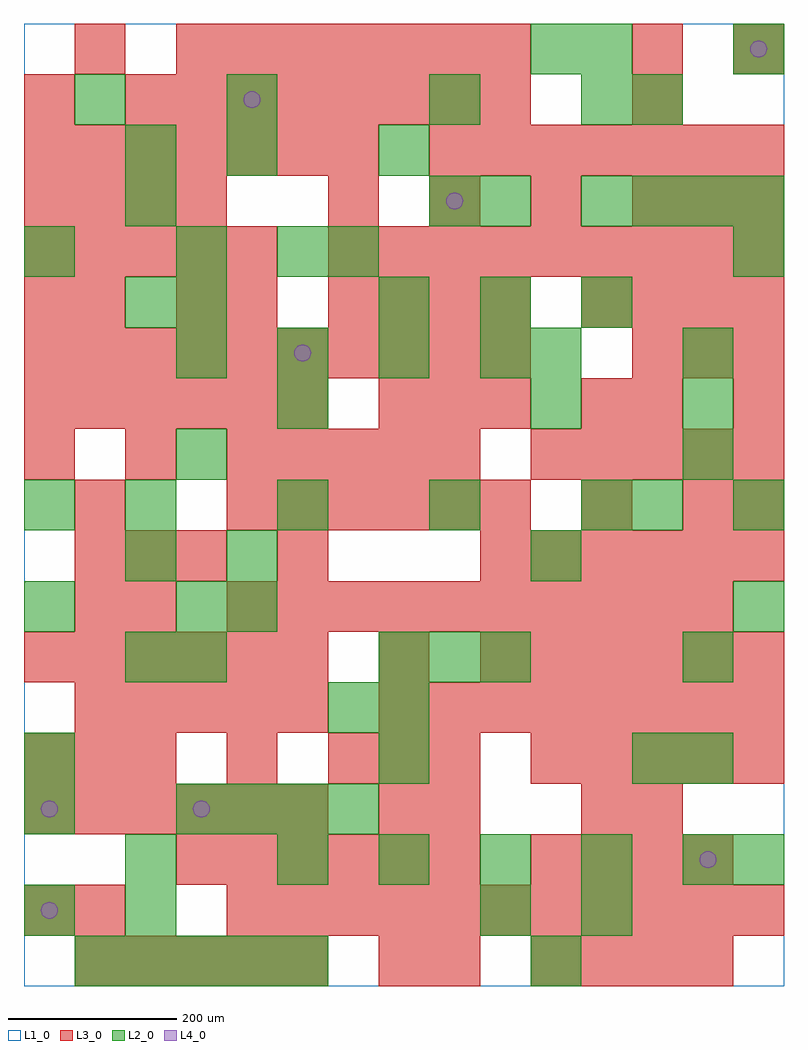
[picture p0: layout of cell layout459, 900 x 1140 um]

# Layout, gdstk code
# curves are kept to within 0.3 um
import gdstk
lib = gdstk.Library(unit=1e-6, precision=1e-09)
def R(c, l, rs):  # rectangles x0, y0, x1, y1
    for r in rs: c.add(gdstk.rectangle(r[:2], r[2:], *l))
def A(c, l, x, y, w, h, nx, ny, dx, dy):  # array of equal rectangles
    R(c, l, [(x+i*dx, y+j*dy, x+i*dx+w, y+j*dy+h) for i in range(nx) for j in range(ny)])
def P(c, l, *ps):  # polygons
    for p in ps: c.add(gdstk.Polygon(p, *l))
L1_0 = (1, 0)
L2_0 = (2, 0)
L3_0 = (3, 0)
L4_0 = (4, 0)

layout459 = lib.new_cell('layout459')
R(layout459, L1_0, [(0,0,900,1140)])
A(layout459, L2_0, 60, 0, 60, 60, 5, 1, 60, 0)
A(layout459, L2_0, 300, 120, 60, 60, 5, 1, 120, 0)
A(layout459, L2_0, 180, 180, 60, 60, 4, 1, 60, 0)
A(layout459, L2_0, 420, 360, 60, 60, 3, 1, 60, 0)
A(layout459, L2_0, 180, 420, 60, 60, 1, 3, 0, 180)
A(layout459, L2_0, 120, 540, 60, 60, 4, 1, 180, 0)
A(layout459, L2_0, 780, 600, 60, 60, 1, 3, 0, 60)
A(layout459, L2_0, 180, 720, 60, 60, 4, 1, 120, 0)
A(layout459, L2_0, 420, 780, 60, 60, 3, 1, 120, 0)
A(layout459, L2_0, 660, 900, 60, 60, 4, 1, 60, 0)
R(layout459, L2_0, [(600,0,660,60), (0,60,60,120), (120,60,180,120), (540,60,600,120), (660,60,720,120), (120,120,180,180), (840,120,900,180), (0,180,60,240), (0,240,60,300), (420,240,480,300), (720,240,780,300), (780,240,840,300), (360,300,420,360), (420,300,480,360), (120,360,180,420), (180,360,240,420), (780,360,840,420), (0,420,60,480), (240,420,300,480), (840,420,900,480), (120,480,180,540), (240,480,300,540), (600,480,660,540), (0,540,60,600), (720,540,780,600), (840,540,900,600), (300,660,360,720), (600,660,660,720), (600,720,660,780), (120,780,180,840), (0,840,60,900), (180,840,240,900), (300,840,360,900), (360,840,420,900), (840,840,900,900), (120,900,180,960), (480,900,540,960), (540,900,600,960), (120,960,180,1020), (240,960,300,1020), (420,960,480,1020), (60,1020,120,1080), (240,1020,300,1080), (480,1020,540,1080), (660,1020,720,1080), (720,1020,780,1080), (600,1080,660,1140), (660,1080,720,1140), (840,1080,900,1140)])
A(layout459, L3_0, 60, 0, 60, 60, 5, 2, 60, 300)
A(layout459, L3_0, 420, 0, 60, 60, 1, 3, 0, 180)
A(layout459, L3_0, 600, 0, 60, 60, 4, 2, 60, 120)
A(layout459, L3_0, 240, 60, 60, 60, 11, 1, 60, 0)
A(layout459, L3_0, 180, 120, 60, 60, 6, 1, 60, 0)
A(layout459, L3_0, 0, 180, 60, 60, 6, 2, 60, 180)
A(layout459, L3_0, 0, 240, 60, 60, 3, 1, 60, 0)
A(layout459, L3_0, 360, 240, 60, 60, 3, 1, 60, 0)
A(layout459, L3_0, 600, 240, 60, 60, 5, 2, 60, 360)
A(layout459, L3_0, 420, 300, 60, 60, 8, 1, 60, 0)
A(layout459, L3_0, 540, 360, 60, 60, 6, 2, 60, 120)
A(layout459, L3_0, 240, 420, 60, 60, 10, 1, 60, 0)
A(layout459, L3_0, 60, 480, 60, 60, 3, 1, 60, 0)
A(layout459, L3_0, 240, 540, 60, 60, 6, 1, 60, 0)
A(layout459, L3_0, 0, 600, 60, 60, 3, 1, 120, 0)
A(layout459, L3_0, 300, 600, 60, 60, 4, 1, 60, 0)
A(layout459, L3_0, 0, 660, 60, 60, 6, 1, 60, 0)
A(layout459, L3_0, 420, 660, 60, 60, 3, 1, 60, 0)
A(layout459, L3_0, 0, 720, 60, 60, 10, 1, 60, 0)
A(layout459, L3_0, 720, 720, 60, 60, 3, 1, 60, 0)
A(layout459, L3_0, 360, 780, 60, 60, 4, 1, 60, 0)
A(layout459, L3_0, 660, 780, 60, 60, 4, 1, 60, 0)
A(layout459, L3_0, 0, 840, 60, 60, 5, 1, 60, 0)
A(layout459, L3_0, 360, 840, 60, 60, 9, 1, 60, 0)
A(layout459, L3_0, 0, 900, 60, 60, 4, 1, 60, 0)
A(layout459, L3_0, 360, 900, 60, 60, 4, 1, 120, 0)
A(layout459, L3_0, 0, 960, 60, 60, 7, 1, 60, 0)
A(layout459, L3_0, 480, 960, 60, 60, 7, 1, 60, 0)
A(layout459, L3_0, 120, 1020, 60, 60, 8, 1, 60, 0)
A(layout459, L3_0, 180, 1080, 60, 60, 7, 1, 60, 0)
R(layout459, L3_0, [(480,0,540,60), (0,60,60,120), (60,60,120,120), (480,180,540,240), (660,180,720,240), (720,180,780,240), (240,240,300,300), (60,420,120,480), (120,420,180,480), (300,480,360,540), (60,540,120,600), (660,540,720,600), (780,540,840,600), (840,540,900,600), (660,660,720,720), (720,660,780,720), (840,660,900,720), (0,780,60,840), (60,780,120,840), (180,780,240,840), (240,780,300,840), (780,900,840,960), (840,900,900,960), (0,1020,60,1080), (720,1020,780,1080), (60,1080,120,1140), (720,1080,780,1140), (840,1080,900,1140)])
P(layout459, L4_0, [(40,90),(39.239,93.827),(37.071,97.071),(33.827,99.239),(30,100),(26.173,99.239),(22.929,97.071),(20.761,93.827),(20,90),(20.761,86.173),(22.929,82.929),(26.173,80.761),(30,80),(33.827,80.761),(37.071,82.929),(39.239,86.173)],
  [(40,210),(39.239,213.827),(37.071,217.071),(33.827,219.239),(30,220),(26.173,219.239),(22.929,217.071),(20.761,213.827),(20,210),(20.761,206.173),(22.929,202.929),(26.173,200.761),(30,200),(33.827,200.761),(37.071,202.929),(39.239,206.173)],
  [(220,210),(219.239,213.827),(217.071,217.071),(213.827,219.239),(210,220),(206.173,219.239),(202.929,217.071),(200.761,213.827),(200,210),(200.761,206.173),(202.929,202.929),(206.173,200.761),(210,200),(213.827,200.761),(217.071,202.929),(219.239,206.173)],
  [(280,1050),(279.239,1053.827),(277.071,1057.071),(273.827,1059.239),(270,1060),(266.173,1059.239),(262.929,1057.071),(260.761,1053.827),(260,1050),(260.761,1046.173),(262.929,1042.929),(266.173,1040.761),(270,1040),(273.827,1040.761),(277.071,1042.929),(279.239,1046.173)],
  [(340,750),(339.239,753.827),(337.071,757.071),(333.827,759.239),(330,760),(326.173,759.239),(322.929,757.071),(320.761,753.827),(320,750),(320.761,746.173),(322.929,742.929),(326.173,740.761),(330,740),(333.827,740.761),(337.071,742.929),(339.239,746.173)],
  [(520,930),(519.239,933.827),(517.071,937.071),(513.827,939.239),(510,940),(506.173,939.239),(502.929,937.071),(500.761,933.827),(500,930),(500.761,926.173),(502.929,922.929),(506.173,920.761),(510,920),(513.827,920.761),(517.071,922.929),(519.239,926.173)],
  [(820,150),(819.239,153.827),(817.071,157.071),(813.827,159.239),(810,160),(806.173,159.239),(802.929,157.071),(800.761,153.827),(800,150),(800.761,146.173),(802.929,142.929),(806.173,140.761),(810,140),(813.827,140.761),(817.071,142.929),(819.239,146.173)],
  [(880,1110),(879.239,1113.827),(877.071,1117.071),(873.827,1119.239),(870,1120),(866.173,1119.239),(862.929,1117.071),(860.761,1113.827),(860,1110),(860.761,1106.173),(862.929,1102.929),(866.173,1100.761),(870,1100),(873.827,1100.761),(877.071,1102.929),(879.239,1106.173)])

lib.write_gds('layout459.gds')
